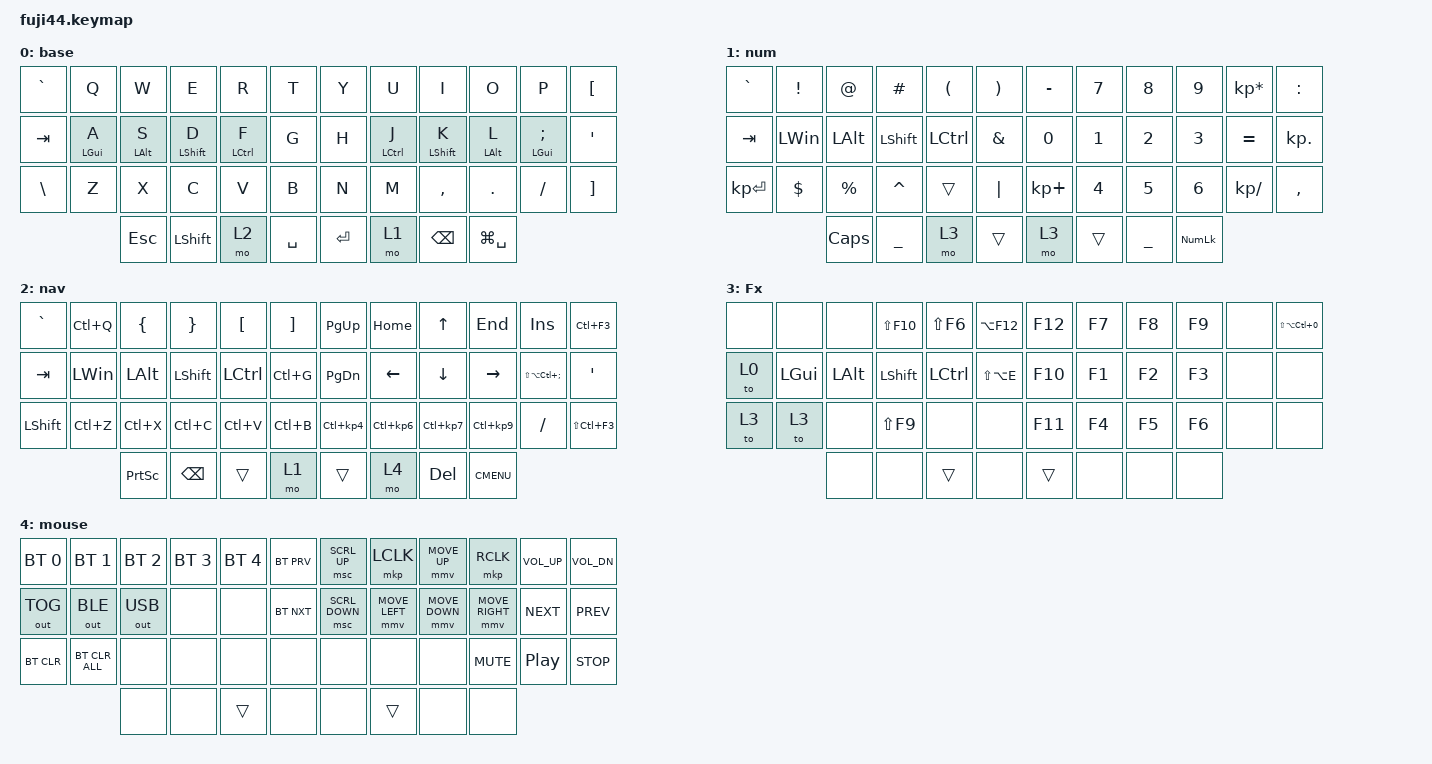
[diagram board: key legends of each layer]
/*
 * Copyright (c) 2020 The ZMK Contributors
 *
 * SPDX-License-Identifier: MIT
 */

#include <behaviors.dtsi>
#include <dt-bindings/zmk/bt.h>
#include <dt-bindings/zmk/keys.h>
#include <dt-bindings/zmk/outputs.h>
#include <dt-bindings/zmk/pointing.h>

/ {
    combos {
        compatible = "zmk,combos";

        combo_esc {
            timeout-ms = <50>;
            key-positions = <4 3 2>;
            bindings = <&kp ESC>;
            layers = <0>;
        };

        lang {
            bindings = <&kp LG(SPACE)>;
            key-positions = <7 8 9>;
            layers = <0>;
            timeout-ms = <50>;
        };
    };

    behaviors {
        ss_hs_modmorph: ss_hs_modmorph {
            compatible = "zmk,behavior-mod-morph";
            label = "SS_HS_MODMORPH";
            bindings = <&kp M>, <&kp RIGHT_BRACKET>;

            #binding-cells = <0>;
            mods = <(MOD_LSFT|MOD_RSFT)>;
        };

        kh_hs_tapdance: kh_hs_tapdance {
            compatible = "zmk,behavior-tap-dance";
            label = "KH_HS_TAPDANCE";
            #binding-cells = <0>;
            tapping-term-ms = <200>;
            bindings = <&kp LEFT_BRACKET>, <&kp RIGHT_BRACKET>;
        };

        hrm: hrm {
            compatible = "zmk,behavior-hold-tap";
            #binding-cells = <2>;
            flavor = "tap-preferred";
            tapping-term-ms = <200>;
            quick-tap-ms = <200>;
            require-prior-idle-ms = <125>;
            bindings = <&kp>, <&kp>;
        };

        hrm_hold_k: hrm_hold_k {
            compatible = "zmk,behavior-tap-dance";
            label = "HRM_HOLD_K";
            #binding-cells = <0>;
            bindings = <&hrm LEFT_SHIFT K>, <&kp K>;
        };
    };

    keymap {
        compatible = "zmk,keymap";

        base {
            bindings = <
&kp GRAVE  &kp Q            &kp W            &kp E              &kp R                &kp T        &kp Y      &kp U                &kp I              &kp O            &kp P               &kp LEFT_BRACKET
&kp TAB    &hrm LEFT_GUI A  &hrm LEFT_ALT S  &hrm LEFT_SHIFT D  &hrm LEFT_CONTROL F  &kp G        &kp H      &hrm LEFT_CONTROL J  &hrm LEFT_SHIFT K  &hrm LEFT_ALT L  &hrm LEFT_GUI SEMI  &kp SQT
&kp BSLH   &kp Z            &kp X            &kp C              &kp V                &kp B        &kp N      &kp M                &kp COMMA          &kp DOT          &kp FSLH            &kp RIGHT_BRACKET
                            &kp ESC          &kp LEFT_SHIFT     &mo 2                &kp SPACE    &kp ENTER  &mo 1                &kp BACKSPACE      &kp LG(SPACE)
            >;
        };

        num {
            bindings = <
&kp GRAVE     &kp EXCL      &kp AT        &kp HASH        &kp LPAR          &kp RPAR    &kp MINUS     &kp NUMBER_7  &kp NUMBER_8  &kp NUMBER_9    &kp KP_ASTERISK  &kp COLON
&kp TAB       &kp LEFT_WIN  &kp LEFT_ALT  &kp LEFT_SHIFT  &kp LEFT_CONTROL  &kp AMPS    &kp NUMBER_0  &kp NUMBER_1  &kp NUMBER_2  &kp NUMBER_3    &kp EQUAL        &kp KP_DOT
&kp KP_ENTER  &kp DLLR      &kp PRCNT     &kp CARET       &trans            &kp PIPE    &kp KP_PLUS   &kp NUMBER_4  &kp NUMBER_5  &kp NUMBER_6    &kp KP_SLASH     &kp COMMA
                            &kp CAPSLOCK  &kp UNDER       &mo 3             &trans      &mo 3         &trans        &kp UNDER     &kp KP_NUMLOCK
            >;
        };

        nav {
            bindings = <
&kp GRAVE       &kp LC(Q)     &kp LBRC         &kp RBRC        &kp LEFT_BRACKET  &kp RIGHT_BRACKET    &kp PAGE_UP          &kp HOME             &kp UP               &kp END              &kp INSERT            &kp LC(F3)
&kp TAB         &kp LEFT_WIN  &kp LEFT_ALT     &kp LEFT_SHIFT  &kp LEFT_CONTROL  &kp LC(G)            &kp PAGE_DOWN        &kp LEFT             &kp DOWN             &kp RIGHT            &kp LS(LA(LC(SEMI)))  &kp SQT
&kp LEFT_SHIFT  &kp LC(Z)     &kp LC(X)        &kp LC(C)       &kp LC(V)         &kp LC(B)            &kp LC(KP_NUMBER_4)  &kp LC(KP_NUMBER_6)  &kp LC(KP_NUMBER_7)  &kp LC(KP_NUMBER_9)  &kp SLASH             &kp LS(LC(F3))
                              &kp PRINTSCREEN  &kp BACKSPACE   &trans            &mo 1                &trans               &mo 4                &kp DELETE           &kp K_CMENU
            >;
        };

        Fx {
            bindings = <
&none  &none         &none         &kp LS(F10)     &kp LS(F6)        &kp LA(F12)      &kp F12  &kp F7  &kp F8  &kp F9  &none  &kp LS(LA(LC(NUMBER_0)))
&to 0  &kp LEFT_GUI  &kp LEFT_ALT  &kp LEFT_SHIFT  &kp LEFT_CONTROL  &kp LS(LA(E))    &kp F10  &kp F1  &kp F2  &kp F3  &none  &none
&to 3  &to 3         &none         &kp LS(F9)      &none             &none            &kp F11  &kp F4  &kp F5  &kp F6  &none  &none
                     &none         &none           &trans            &none            &trans   &none   &none   &none
            >;
        };

        mouse {
            bindings = <
&bt BT_SEL 0  &bt BT_SEL 1    &bt BT_SEL 2  &bt BT_SEL 3  &bt BT_SEL 4  &bt BT_PRV    &msc SCRL_UP    &mkp LCLK       &mmv MOVE_UP    &mkp RCLK        &kp C_VOLUME_UP   &kp C_VOL_DN
&out OUT_TOG  &out OUT_BLE    &out OUT_USB  &none         &none         &bt BT_NXT    &msc SCRL_DOWN  &mmv MOVE_LEFT  &mmv MOVE_DOWN  &mmv MOVE_RIGHT  &kp C_NEXT        &kp C_PREV
&bt BT_CLR    &bt BT_CLR_ALL  &none         &none         &none         &none         &none           &none           &none           &kp C_MUTE       &kp C_PLAY_PAUSE  &kp C_STOP
                              &none         &none         &trans        &none         &none           &trans          &none           &none
            >;
        };
    };
};
